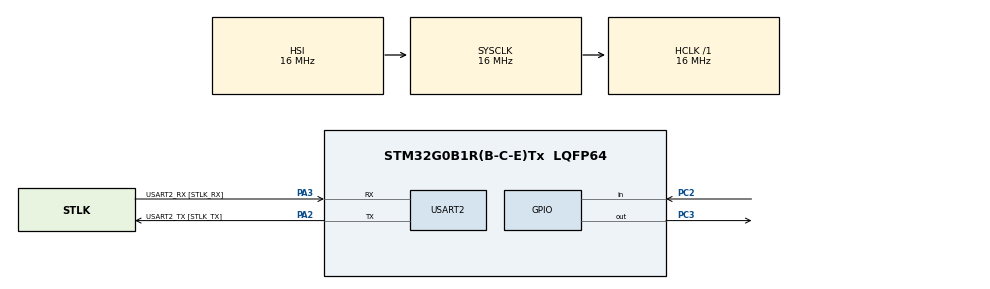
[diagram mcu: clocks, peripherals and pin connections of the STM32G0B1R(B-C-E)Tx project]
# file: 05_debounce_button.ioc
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Mcu.Family=STM32G0
Mcu.Name=STM32G0B1R(B-C-E)Tx
Mcu.Package=LQFP64
PA2.GPIO_Label=USART2_TX [STLK_TX]
PA2.Mode=Asynchronous
PA2.Signal=USART2_TX
PA3.GPIO_Label=USART2_RX [STLK_RX]
PA3.Mode=Asynchronous
PA3.Signal=USART2_RX
PC2.GPIO_PuPd=GPIO_PULLUP
PC2.Signal=GPIO_Input
PC3.Signal=GPIO_Output
ProjectManager.HeapSize=0x200
ProjectManager.StackSize=0x400
ProjectManager.TargetToolchain=STM32CubeIDE
RCC.AHBFreq_Value=16000000
RCC.CortexFreq_Value=16000000
RCC.EXTERNAL_CLOCK_VALUE=12288000
RCC.HCLKFreq_Value=16000000
RCC.HSE_VALUE=8000000
RCC.HSI48_VALUE=48000000
RCC.HSI_VALUE=16000000
RCC.LSE_VALUE=32768
RCC.SYSCLKFreq_VALUE=16000000
RCC.USBFreq_Value=48000000
RCC.VCOOutputFreq_Value=128000000
USART2.VirtualMode-Asynchronous=VM_ASYNC
VP_SYS_VS_DBSignals.Mode=DisableDeadBatterySignals
board=NUCLEO-G0B1RE

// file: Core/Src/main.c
/* USER CODE BEGIN Header */
/**
  ******************************************************************************
  * @file           : main.c
  * @brief          : Main program body
  ******************************************************************************
  * @attention
  *
  * Copyright (c) 2026 STMicroelectronics.
  * All rights reserved.
  *
  * This software is licensed under terms that can be found in the LICENSE file
  * in the root directory of this software component.
  * If no LICENSE file comes with this software, it is provided AS-IS.
  *
  ******************************************************************************
  */
/* USER CODE END Header */
#include "main.h"

/* USER CODE BEGIN Includes */
#include <stdbool.h>

/* USER CODE END Includes */

UART_HandleTypeDef huart2;

void SystemClock_Config(void);
static void MX_GPIO_Init(void);
static void MX_USART2_UART_Init(void);

/* USER CODE BEGIN 0 */
const uint32_t DEBOUNCE_TIME = 20; // ms

typedef enum {
	RELEASED_STABLE,
	PRESSED_RAW,
	PRESSED_STABLE,
	RELEASED_RAW
} ButtonState_t;

/* USER CODE END 0 */

int main(void)
{

  /* MCU Configuration--------------------------------------------------------*/

  /* Reset of all peripherals, Initializes the Flash interface and the Systick. */
  HAL_Init();

  /* Configure the system clock */
  SystemClock_Config();

  /* Initialize all configured peripherals */
  MX_GPIO_Init();
  MX_USART2_UART_Init();
  /* USER CODE BEGIN 2 */
  uint32_t start_time_button_interaction = HAL_GetTick();
  ButtonState_t button_state = RELEASED_STABLE;
  bool is_button_pressed = false;
  bool is_led_on = false;

  /* USER CODE END 2 */

  /* Infinite loop */
  /* USER CODE BEGIN WHILE */
  while (1)
  {
	  // read, if button is pressed
	  is_button_pressed = (HAL_GPIO_ReadPin(GPIOC, GPIO_PIN_2) == GPIO_PIN_RESET); // true, if button pressed

	  switch (button_state) {
	  	  case RELEASED_STABLE:
	  		  if (is_button_pressed) {
	  			  start_time_button_interaction = HAL_GetTick();
	  			  button_state = PRESSED_RAW;
	  		  }
	  		  break;

	  	  case PRESSED_RAW:
	  		  if (!is_button_pressed) {
	  			  button_state = RELEASED_STABLE;
	  			  break;
	  		  }
	  		  if ((HAL_GetTick() - start_time_button_interaction) > DEBOUNCE_TIME) {
	  			  button_state = PRESSED_STABLE;
	  			  if (!is_led_on) {
	  				  HAL_GPIO_WritePin(GPIOC, GPIO_PIN_3, GPIO_PIN_SET);
	  				  is_led_on = true;
	  			  } else {
	  				  HAL_GPIO_WritePin(GPIOC, GPIO_PIN_3, GPIO_PIN_RESET);
	  				  is_led_on = false;
	  			  }
	  		  }
	  		  break;

	  	  case PRESSED_STABLE:
	  		  if (!is_button_pressed) {
	  			  start_time_button_interaction = HAL_GetTick();
	  			  button_state = RELEASED_RAW;
	  		  }
	  		  break;

	  	  case RELEASED_RAW:
	  		  if (is_button_pressed) {
	  			  button_state = PRESSED_STABLE;
	  			  break;
	  		  }

	  		  if ((HAL_GetTick() - start_time_button_interaction) > DEBOUNCE_TIME) {
	  			  button_state = RELEASED_STABLE;
	  		  }
	  		  break;
	  }

    /* USER CODE END WHILE */

  }
}

void SystemClock_Config(void)
{
  RCC_OscInitTypeDef RCC_OscInitStruct = {0};
  RCC_ClkInitTypeDef RCC_ClkInitStruct = {0};

  /** Configure the main internal regulator output voltage
  */
  HAL_PWREx_ControlVoltageScaling(PWR_REGULATOR_VOLTAGE_SCALE1);

  /** Initializes the RCC Oscillators according to the specified parameters
  * in the RCC_OscInitTypeDef structure.
  */
  RCC_OscInitStruct.OscillatorType = RCC_OSCILLATORTYPE_HSI;
  RCC_OscInitStruct.HSIState = RCC_HSI_ON;
  RCC_OscInitStruct.HSIDiv = RCC_HSI_DIV1;
  RCC_OscInitStruct.HSICalibrationValue = RCC_HSICALIBRATION_DEFAULT;
  RCC_OscInitStruct.PLL.PLLState = RCC_PLL_NONE;
  if (HAL_RCC_OscConfig(&RCC_OscInitStruct) != HAL_OK)
  {
    Error_Handler();
  }

  /** Initializes the CPU, AHB and APB buses clocks
  */
  RCC_ClkInitStruct.ClockType = RCC_CLOCKTYPE_HCLK|RCC_CLOCKTYPE_SYSCLK
                              |RCC_CLOCKTYPE_PCLK1;
  RCC_ClkInitStruct.SYSCLKSource = RCC_SYSCLKSOURCE_HSI;
  RCC_ClkInitStruct.AHBCLKDivider = RCC_SYSCLK_DIV1;
  RCC_ClkInitStruct.APB1CLKDivider = RCC_HCLK_DIV1;

  if (HAL_RCC_ClockConfig(&RCC_ClkInitStruct, FLASH_LATENCY_0) != HAL_OK)
  {
    Error_Handler();
  }
}

static void MX_USART2_UART_Init(void)
{

  huart2.Instance = USART2;
  huart2.Init.BaudRate = 115200;
  huart2.Init.WordLength = UART_WORDLENGTH_8B;
  huart2.Init.StopBits = UART_STOPBITS_1;
  huart2.Init.Parity = UART_PARITY_NONE;
  huart2.Init.Mode = UART_MODE_TX_RX;
  huart2.Init.HwFlowCtl = UART_HWCONTROL_NONE;
  huart2.Init.OverSampling = UART_OVERSAMPLING_16;
  huart2.Init.OneBitSampling = UART_ONE_BIT_SAMPLE_DISABLE;
  huart2.Init.ClockPrescaler = UART_PRESCALER_DIV1;
  huart2.AdvancedInit.AdvFeatureInit = UART_ADVFEATURE_NO_INIT;
  if (HAL_UART_Init(&huart2) != HAL_OK)
  {
    Error_Handler();
  }
  if (HAL_UARTEx_SetTxFifoThreshold(&huart2, UART_TXFIFO_THRESHOLD_1_8) != HAL_OK)
  {
    Error_Handler();
  }
  if (HAL_UARTEx_SetRxFifoThreshold(&huart2, UART_RXFIFO_THRESHOLD_1_8) != HAL_OK)
  {
    Error_Handler();
  }
  if (HAL_UARTEx_DisableFifoMode(&huart2) != HAL_OK)
  {
    Error_Handler();
  }

}

static void MX_GPIO_Init(void)
{
  GPIO_InitTypeDef GPIO_InitStruct = {0};

  /* GPIO Ports Clock Enable */
  __HAL_RCC_GPIOC_CLK_ENABLE();
  __HAL_RCC_GPIOA_CLK_ENABLE();

  /*Configure GPIO pin Output Level */
  HAL_GPIO_WritePin(GPIOC, GPIO_PIN_3, GPIO_PIN_RESET);

  /*Configure GPIO pin : PC2 */
  GPIO_InitStruct.Pin = GPIO_PIN_2;
  GPIO_InitStruct.Mode = GPIO_MODE_INPUT;
  GPIO_InitStruct.Pull = GPIO_PULLUP;
  HAL_GPIO_Init(GPIOC, &GPIO_InitStruct);

  /*Configure GPIO pin : PC3 */
  GPIO_InitStruct.Pin = GPIO_PIN_3;
  GPIO_InitStruct.Mode = GPIO_MODE_OUTPUT_PP;
  GPIO_InitStruct.Pull = GPIO_NOPULL;
  GPIO_InitStruct.Speed = GPIO_SPEED_FREQ_LOW;
  HAL_GPIO_Init(GPIOC, &GPIO_InitStruct);

}

void Error_Handler(void)
{
  __disable_irq();
  while (1)
  {
  }
}
